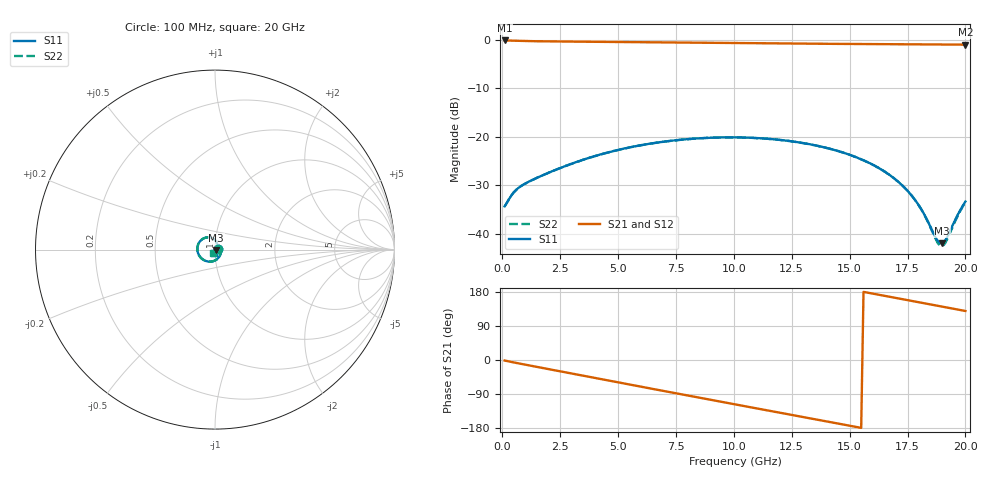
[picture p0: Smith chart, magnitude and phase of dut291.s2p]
! Touchstone file exported from HFSS 2026.1.0
!  File:  C:/ffzhzh/LocalFiles/Ansys_Project_Files/temp_train_TSV_RDL_291_1783087586_35048.aedt
!  Generated:  10:14:51 PM Jul  3, 2026
!  Design:  TSV_RDL
!  Project:  temp_train_TSV_RDL_291_1783087586_35048
! Variables:
!  h_bsmrdl = 5.44um
!  h_ox = 20um
!  h_rdl = 5um
!  h_sub = 96.59um
!  h_tmrdl = 2.13um
!  h_tsv = 96.59um
!  h_via = 3um
!  l_bsmrdl = 121.96um
!  l_sub = 3681.89um
!  l_tmrdl = 686.35um
!  m_sub = 200um
!  pitch = 31.57um
!  r_tsv = 9.17um
!  s_tmrdl = 10um
!  w_bsmrdl = 28.65um
!  w_sub = 500um
!  w_tmrdl = 28.22um
!  x_tsv_center1 = 700.46um
!  x_tsv_center2 = 851.07um
!  x_tsv_center3 = 1565.64um
!  x_tsv_center4 = 1716.25um
!  x_tsv_center5 = 2430.82um
!  x_tsv_center6 = 2581.43um
# GHz S MA R 50.000000
! Terminal data exported
! Port[1] = TM_RDL1_1_T1
! Port[2] = TM_RDL5_1_T1
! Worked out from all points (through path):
!   200 points, 100 MHz to 20 GHz, reference 50 ohm
!   highest |S21| = -0.17 dB at 100 MHz (marker M1); lowest = -1.0 dB at 20 GHz (marker M2)
!   group delay of S21, straight-line fit = 31.9 ps
!   lowest |S11| = -41.9 dB at 19 GHz (marker M3), VSWR 1.02, Z = 50.6 - j0.48 ohm
!   |S11| at or under -10 dB: start of sweep to end of sweep
!   |S22| runs from -42.5 to -20.1 dB; largest |S21 - S12| = 6.9e-14
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0.1  0.01926 4.8  0.9809 -1.4  0.9809 -1.4  0.01926 4.8
! Gamma 0 0 0 0
! Port Impedance 50 0 50 0
0.5  0.02693 1.1  0.9732 -6.5  0.9732 -6.5  0.02692 1.1
0.9  0.03215 -14.1  0.9676 -11.2  0.9676 -11.2  0.03213 -14.1
2.2  0.04471 -55.0  0.9586 -26.4  0.9586 -26.4  0.04468 -55.0
3.5  0.05823 -85.6  0.9522 -41.5  0.9522 -41.5  0.05816 -85.7
5.2  0.07521 -117.5  0.9442 -61.3  0.9442 -61.3  0.07511 -117.5
6.8  0.08808 -143.0  0.9364 -79.8  0.9364 -79.8  0.08796 -143.1
8.4  0.0963 -166.5  0.9284 -98.2  0.9284 -98.2  0.09617 -166.6
10.1  0.09874 169.8  0.9204 -117.6  0.9204 -117.6  0.09863 169.7
11.8  0.09401 146.7  0.9133 -137.0  0.9133 -137.0  0.09393 146.6
13.4  0.08283 125.1  0.9077 -155.2  0.9077 -155.2  0.08278 125.0
15.1  0.06411 101.6  0.9027 -174.5  0.9027 -174.5  0.06411 101.6
16  0.05166 88.3  0.9003 175.2  0.9003 175.2  0.05167 88.5
16.7  0.04095 77.1  0.8985 167.2  0.8985 167.2  0.04096 77.3
17.3  0.0312 65.8  0.8968 160.3  0.8968 160.3  0.0312 66.4
17.8  0.02286 53.9  0.8954 154.6  0.8954 154.6  0.02283 54.8
18.2  0.01628 39.9  0.8943 150.0  0.8943 150.0  0.01618 41.3
18.8  0.008532 -7.5  0.8924 143.2  0.8924 143.2  0.008136 -5.6
19  0.008008 -36.3  0.8918 140.9  0.8918 140.9  0.007503 -35.8
19.2  0.00919 -63.2  0.8911 138.6  0.8911 138.6  0.008679 -64.3
19.6  0.01464 -95.5  0.8897 134.0  0.8897 134.0  0.01423 -97.2
20  0.02159 -111.8  0.8883 129.4  0.8883 129.4  0.02124 -113.3
